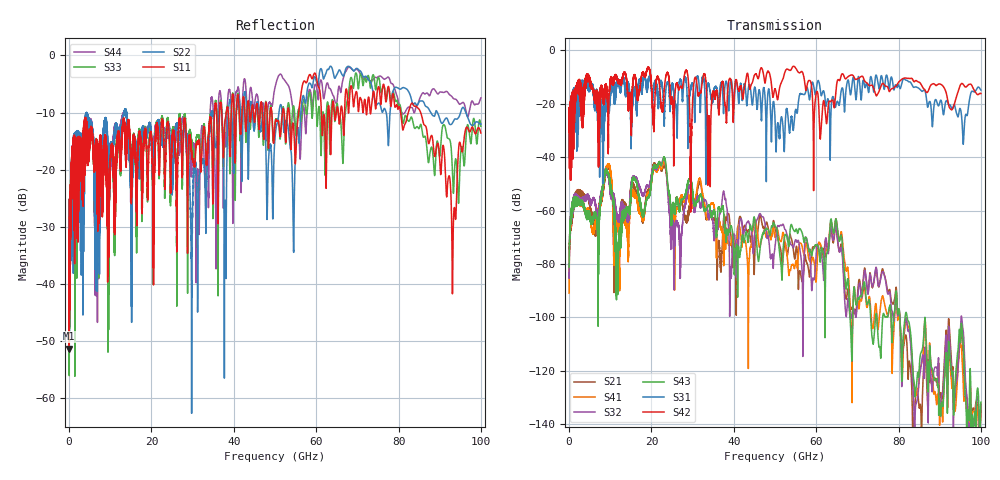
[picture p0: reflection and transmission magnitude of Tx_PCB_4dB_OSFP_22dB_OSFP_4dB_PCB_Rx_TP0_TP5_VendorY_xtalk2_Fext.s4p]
! Info: Touchstone file created by Circ.  Input file=Tx_PCB_4dB_OSFP_22dB_OSFP_4dB_PCB_Rx_TP0_TP5_VendorY.circ
# Hz S RI R 50
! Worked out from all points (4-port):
!   10000 points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, 10 MHz to 100 GHz, reference 50 ohm
!   strongest paths, dB at 10 MHz, 25.01 GHz, 50.01 GHz, 75.01 GHz, 100 GHz:
!     S42: -25.1, -19.1, -14.5, -16.2, -16.2
!     S31: -25.1, -12.5, -25.5, -12.1, -14.9
!     S43: -81.2, -60.9, -65.7, -107.1, -131.7
!     S32: -83.3, -65.8, -73.8, -87.4, -132.5
!     S41: -90.9, -62.1, -70.1, -104.6, -132.4
!     S21: -80.9, -58.9, -66.9, -87.5, -134.7
!   lowest |S11| = -51.3 dB at 40 MHz (marker M1), VSWR 1.01, Z = 49.8 + j0.184 ohm
!   |S11| at or under -10 dB: start of sweep to 35.32 GHz; 49.23 GHz to 51.8 GHz (2.572 GHz wide, 5.09 % of centre); 85.37 GHz to end of sweep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
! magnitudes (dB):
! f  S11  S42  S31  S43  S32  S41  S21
! 10 MHz  -25.2  -25.1  -25.1  -81.2  -83.3  -90.9  -80.9
! 40 MHz  -51.3  -30.7  -30.8  -76.2  -79.2  -79.6  -78.2
! 23.01 GHz  -15.5  -17.3  -24.7  -40.0  -40.0  -41.3  -42.7
! 25.13 GHz  -13.6  -18.6  -12.9  -59.0  -63.7  -62.0  -58.8
! 37.64 GHz  -14.5  -16.3  -18.5  -63.1  -53.2  -74.9  -61.5
! 39.32 GHz  -11.4  -11.4  -10.9  -65.8  -84.5  -72.4  -70.3
! 100 GHz  -13.6  -16.2  -14.9  -131.7  -132.5  -132.4  -134.7
